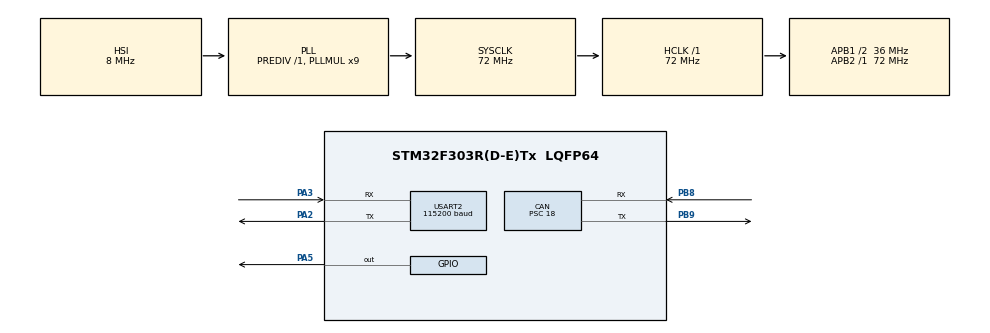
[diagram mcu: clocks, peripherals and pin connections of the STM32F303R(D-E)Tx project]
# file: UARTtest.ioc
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CAN.BS1=CAN_BS1_4TQ
CAN.BS2=CAN_BS2_3TQ
CAN.CalculateTimeBit=1333
CAN.CalculateTimeQuantum=500.0
CAN.Prescaler=18
CAN.SJW=CAN_SJW_4TQ
Dma.Request0=USART2_RX
Dma.Request1=USART2_TX
Dma.USART2_RX.0.Direction=DMA_PERIPH_TO_MEMORY
Dma.USART2_RX.0.Instance=DMA1_Channel6
Dma.USART2_RX.0.MemDataAlignment=DMA_MDATAALIGN_BYTE
Dma.USART2_RX.0.MemInc=DMA_MINC_ENABLE
Dma.USART2_RX.0.Mode=DMA_CIRCULAR
Dma.USART2_RX.0.PeriphDataAlignment=DMA_PDATAALIGN_BYTE
Dma.USART2_RX.0.PeriphInc=DMA_PINC_DISABLE
Dma.USART2_RX.0.Priority=DMA_PRIORITY_LOW
Dma.USART2_TX.1.Direction=DMA_MEMORY_TO_PERIPH
Dma.USART2_TX.1.Instance=DMA1_Channel7
Dma.USART2_TX.1.MemDataAlignment=DMA_MDATAALIGN_BYTE
Dma.USART2_TX.1.MemInc=DMA_MINC_ENABLE
Dma.USART2_TX.1.Mode=DMA_NORMAL
Dma.USART2_TX.1.PeriphDataAlignment=DMA_PDATAALIGN_BYTE
Dma.USART2_TX.1.PeriphInc=DMA_PINC_DISABLE
Dma.USART2_TX.1.Priority=DMA_PRIORITY_LOW
Mcu.Family=STM32F3
Mcu.Name=STM32F303R(D-E)Tx
Mcu.Package=LQFP64
NVIC.CAN_RX1_IRQn=true\:0\:0\:false\:false\:true\:true
NVIC.CAN_SCE_IRQn=true\:0\:0\:false\:false\:true\:true
NVIC.DMA1_Channel6_IRQn=true\:0\:0\:false\:false\:true\:false
NVIC.DMA1_Channel7_IRQn=true\:0\:0\:false\:false\:true\:false
NVIC.PriorityGroup=NVIC_PRIORITYGROUP_4
NVIC.TIM1_UP_TIM16_IRQn=true\:0\:0\:false\:false\:true\:true
NVIC.USART2_IRQn=true\:0\:0\:false\:false\:true\:true
NVIC.USB_HP_CAN_TX_IRQn=true\:0\:0\:false\:false\:true\:true
NVIC.USB_LP_CAN_RX0_IRQn=true\:0\:0\:false\:false\:true\:true
PA2.Mode=Asynchronous
PA2.Signal=USART2_TX
PA3.Mode=Asynchronous
PA3.Signal=USART2_RX
PA5.Signal=GPIO_Output
PB8.Mode=Master
PB8.Signal=CAN_RX
PB9.Mode=Master
PB9.Signal=CAN_TX
PF0-OSC_IN.Mode=HSE-External-Oscillator
PF0-OSC_IN.Signal=RCC_OSC_IN
PF1-OSC_OUT.Mode=HSE-External-Oscillator
PF1-OSC_OUT.Signal=RCC_OSC_OUT
ProjectManager.HeapSize=0x200
ProjectManager.StackSize=0x400
ProjectManager.TargetToolchain=TrueSTUDIO
RCC.AHBFreq_Value=72000000
RCC.APB1CLKDivider=RCC_HCLK_DIV2
RCC.APB1Freq_Value=36000000
RCC.APB1TimFreq_Value=72000000
RCC.APB2Freq_Value=72000000
RCC.APB2TimFreq_Value=72000000
RCC.CortexFreq_Value=72000000
RCC.HCLKFreq_Value=72000000
RCC.HSE_VALUE=8000000
RCC.HSI_VALUE=8000000
RCC.LSE_VALUE=32768
RCC.PLLMUL=RCC_PLL_MUL9
RCC.SYSCLKFreq_VALUE=72000000
RCC.SYSCLKSourceVirtual=RCC_SYSCLKSOURCE_PLLCLK
RCC.USBFreq_Value=72000000
TIM16.Period=720
TIM16.Prescaler=9999
USART2.BaudRate=115200
USART2.OverSampling=UART_OVERSAMPLING_8
USART2.VirtualMode-Asynchronous=VM_ASYNC
USART2.WordLength=WORDLENGTH_8B
VP_TIM16_VS_ClockSourceINT.Mode=Enable_Timer
board=UARTtest

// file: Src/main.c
/**
  ******************************************************************************
  * @file           : main.c
  * @brief          : Main program body
  ******************************************************************************
  ** This notice applies to any and all portions of this file
  * that are not between comment pairs USER CODE BEGIN and
  * USER CODE END. Other portions of this file, whether
  * inserted by the user or by software development tools
  * are owned by their respective copyright owners.
  *
  * COPYRIGHT(c) 2018 STMicroelectronics
  *
  * Redistribution and use in source and binary forms, with or without modification,
  * are permitted provided that the following conditions are met:
  *   1. Redistributions of source code must retain the above copyright notice,
  *      this list of conditions and the following disclaimer.
  *   2. Redistributions in binary form must reproduce the above copyright notice,
  *      this list of conditions and the following disclaimer in the documentation
  *      and/or other materials provided with the distribution.
  *   3. Neither the name of STMicroelectronics nor the names of its contributors
  *      may be used to endorse or promote products derived from this software
  *      without specific prior written permission.
  *
  * THIS SOFTWARE IS PROVIDED BY THE COPYRIGHT HOLDERS AND CONTRIBUTORS "AS IS"
  * AND ANY EXPRESS OR IMPLIED WARRANTIES, INCLUDING, BUT NOT LIMITED TO, THE
  * IMPLIED WARRANTIES OF MERCHANTABILITY AND FITNESS FOR A PARTICULAR PURPOSE ARE
  * DISCLAIMED. IN NO EVENT SHALL THE COPYRIGHT HOLDER OR CONTRIBUTORS BE LIABLE
  * FOR ANY DIRECT, INDIRECT, INCIDENTAL, SPECIAL, EXEMPLARY, OR CONSEQUENTIAL
  * DAMAGES (INCLUDING, BUT NOT LIMITED TO, PROCUREMENT OF SUBSTITUTE GOODS OR
  * SERVICES; LOSS OF USE, DATA, OR PROFITS; OR BUSINESS INTERRUPTION) HOWEVER
  * CAUSED AND ON ANY THEORY OF LIABILITY, WHETHER IN CONTRACT, STRICT LIABILITY,
  * OR TORT (INCLUDING NEGLIGENCE OR OTHERWISE) ARISING IN ANY WAY OUT OF THE USE
  * OF THIS SOFTWARE, EVEN IF ADVISED OF THE POSSIBILITY OF SUCH DAMAGE.
  *
  ******************************************************************************
  */
#include "main.h"
#include "stm32f3xx_hal.h"
#include "can.h"
#include "dma.h"
#include "tim.h"
#include "usart.h"
#include "gpio.h"

/* USER CODE BEGIN Includes */
#include <string.h>
/* USER CODE END Includes */

/* USER CODE BEGIN PV */
/* Private variables ---------------------------------------------------------*/
static uint8_t Data[4];
uint8_t size = 4;
uint8_t counter = 0;

/* USER CODE END PV */

void SystemClock_Config(void);

/* USER CODE BEGIN PFP */
/* Private function prototypes -----------------------------------------------*/
void HAL_TIM_PeriodElapsedCallback(TIM_HandleTypeDef *htim){
	if(htim->Instance == TIM16){
		HAL_GPIO_WritePin(GPIOA,GPIO_PIN_5, GPIO_PIN_RESET);
		HAL_TIM_Base_Stop_IT(&htim16);
	}
}

void HAL_UART_RxCpltCallback(UART_HandleTypeDef *huart){
	switch(counter){
		case 0:{
			if(Data[0] == 0x3d && Data[1] == 0x05 && Data[2] == 0x21 && Data[3] == 0x40)
				HAL_UART_Transmit_DMA(&huart2, Data, size); // Wys³anie danych z powrotem
		} break;
		case 1:{
			if(Data[0] == 0xff && Data[1] == 0xff && Data[2] == 0xff && Data[3] == 0x00)
				HAL_UART_Transmit_DMA(&huart2, Data, size); // Wys³anie danych z powrotem
		} break;
		case 2:{
			if(Data[0] == 0xac && Data[1] == 0x01 && Data[2] == 0x00 && Data[3] == 0xfe)
				HAL_UART_Transmit_DMA(&huart2, Data, size); // Wys³anie danych z powrotem
		} break;
		case 3:{
			if(Data[0] == 0x00 && Data[1] == 0x00 && Data[2] == 0x00 && Data[3] == 0xff)
				HAL_UART_Transmit_DMA(&huart2, Data, size); // Wys³anie danych z powrotem
		} break;
	}

	counter++;
	HAL_UART_Receive_DMA(&huart2, Data, size); // Ponowne w³¹czenie nas³uchiwania
}

void HAL_UART_TxCpltCallback(UART_HandleTypeDef *huart){
//	memset(Data, 0, 10 * sizeof(uint8_t));

	HAL_GPIO_WritePin(GPIOA,GPIO_PIN_5, GPIO_PIN_SET); //œwiecimy diodê jak wyœlemy dane
	TIM16->CNT=0;
	HAL_TIM_Base_Start_IT(&htim16);
}
/* USER CODE END PFP */

int main(void)
{

  /* MCU Configuration----------------------------------------------------------*/

  /* Reset of all peripherals, Initializes the Flash interface and the Systick. */
  HAL_Init();

  /* Configure the system clock */
  SystemClock_Config();

  /* Initialize all configured peripherals */
  MX_GPIO_Init();
  MX_DMA_Init();
  MX_TIM16_Init();
  MX_USART2_UART_Init();
  MX_CAN_Init();
  /* USER CODE BEGIN 2 */
  TIM16->CNT=0;
  HAL_TIM_Base_Start_IT(&htim16);
  HAL_TIM_Base_Stop_IT(&htim16);

  HAL_UART_Receive_DMA(&huart2, Data, 4);
  /* USER CODE END 2 */

  /* Infinite loop */
  while (1)
  {

  }

}

void SystemClock_Config(void)
{

  RCC_OscInitTypeDef RCC_OscInitStruct;
  RCC_ClkInitTypeDef RCC_ClkInitStruct;
  RCC_PeriphCLKInitTypeDef PeriphClkInit;

    /**Initializes the CPU, AHB and APB busses clocks
    */
  RCC_OscInitStruct.OscillatorType = RCC_OSCILLATORTYPE_HSI;
  RCC_OscInitStruct.HSIState = RCC_HSI_ON;
  RCC_OscInitStruct.HSICalibrationValue = 16;
  RCC_OscInitStruct.PLL.PLLState = RCC_PLL_ON;
  RCC_OscInitStruct.PLL.PLLSource = RCC_PLLSOURCE_HSI;
  RCC_OscInitStruct.PLL.PLLMUL = RCC_PLL_MUL9;
  RCC_OscInitStruct.PLL.PREDIV = RCC_PREDIV_DIV1;
  if (HAL_RCC_OscConfig(&RCC_OscInitStruct) != HAL_OK)
  {
    _Error_Handler(__FILE__, __LINE__);
  }

    /**Initializes the CPU, AHB and APB busses clocks
    */
  RCC_ClkInitStruct.ClockType = RCC_CLOCKTYPE_HCLK|RCC_CLOCKTYPE_SYSCLK
                              |RCC_CLOCKTYPE_PCLK1|RCC_CLOCKTYPE_PCLK2;
  RCC_ClkInitStruct.SYSCLKSource = RCC_SYSCLKSOURCE_PLLCLK;
  RCC_ClkInitStruct.AHBCLKDivider = RCC_SYSCLK_DIV1;
  RCC_ClkInitStruct.APB1CLKDivider = RCC_HCLK_DIV2;
  RCC_ClkInitStruct.APB2CLKDivider = RCC_HCLK_DIV1;

  if (HAL_RCC_ClockConfig(&RCC_ClkInitStruct, FLASH_LATENCY_2) != HAL_OK)
  {
    _Error_Handler(__FILE__, __LINE__);
  }

  PeriphClkInit.PeriphClockSelection = RCC_PERIPHCLK_USART2|RCC_PERIPHCLK_TIM16;
  PeriphClkInit.Usart2ClockSelection = RCC_USART2CLKSOURCE_PCLK1;
  PeriphClkInit.Tim16ClockSelection = RCC_TIM16CLK_HCLK;
  if (HAL_RCCEx_PeriphCLKConfig(&PeriphClkInit) != HAL_OK)
  {
    _Error_Handler(__FILE__, __LINE__);
  }

    /**Configure the Systick interrupt time
    */
  HAL_SYSTICK_Config(HAL_RCC_GetHCLKFreq()/1000);

    /**Configure the Systick
    */
  HAL_SYSTICK_CLKSourceConfig(SYSTICK_CLKSOURCE_HCLK);

  /* SysTick_IRQn interrupt configuration */
  HAL_NVIC_SetPriority(SysTick_IRQn, 0, 0);
}

void _Error_Handler(char *file, int line)
{
  while(1)
  {
  }
}

/************************ (C) COPYRIGHT STMicroelectronics *****END OF FILE****/
